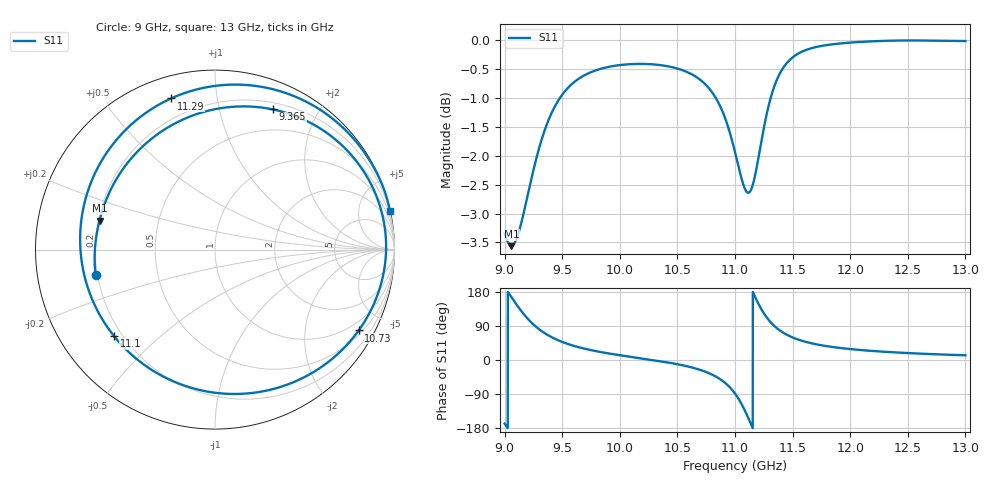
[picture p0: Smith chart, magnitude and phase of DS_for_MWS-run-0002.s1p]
! TOUCHSTONE file generated by CST DESIGN STUDIO
! Date and time: Tue Feb  4 13:04:39 2025
! Project name: C:\Work\MatlabApps\UnitCellOptimizationMatlab\CST\unitcell.cst
! Tree item: Tasks\Sweep1\SPara1\S-Parameters
! Header version: 2024
! Port assignment regex: !\s*Touchstone port\s*([0-9]+)\s*=\s*(CST MWS port|CST DES external port|CST DES block port)\s*(.+)\s* \(\"(.*)\"\)(\s*mode\s*([0-9]+))?.*
! Touchstone port assignment:
! Touchstone port 1 = CST DES external port 1 ("")
# GHz S MA R 50
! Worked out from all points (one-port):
!   4001 points, 9 GHz to 13 GHz, reference 50 ohm
!   lowest |S11| = -3.6 dB at 9.059 GHz (marker M1), VSWR 4.94, Z = 10.3 + j5.92 ohm
!   |S11| at or under -10 dB: nowhere
!   S11 on the Smith chart (normalised r, x): 9 GHz: 0.19, -0.10; 9.365 GHz: 0.27, +1.46; 10.73 GHz: 0.64, -3.72; 11.1 GHz: 0.17, -0.36; 11.29 GHz: 0.10, +0.75; 13 GHz: 0.06, +9.16
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9  0.6806 -167.8
9.059  0.6634 165.9
9.136  0.6896 132.7
9.204  0.7372 107.8
9.277  0.7914 86.6
9.365  0.845 67.6
9.5  0.8972 47.7
9.706  0.9341 29.0
10  0.9518 12.6
10.5  0.9453 -11.1
10.729  0.9188 -29.3
10.812  0.8984 -40.1
10.882  0.8722 -52.8
10.942  0.8403 -68.0
11  0.8003 -88.4
11.049  0.7642 -111.8
11.095  0.7408 -139.5
11.138  0.742 -168.8
11.179  0.7678 163.5
11.236  0.825 130.4
11.291  0.877 106.2
11.336  0.9092 91.3
11.391  0.9367 77.6
11.5  0.9665 59.6
11.696  0.9863 42.0
12  0.9954 28.8
12.5  0.9997 18.3
13  0.9985 12.5
